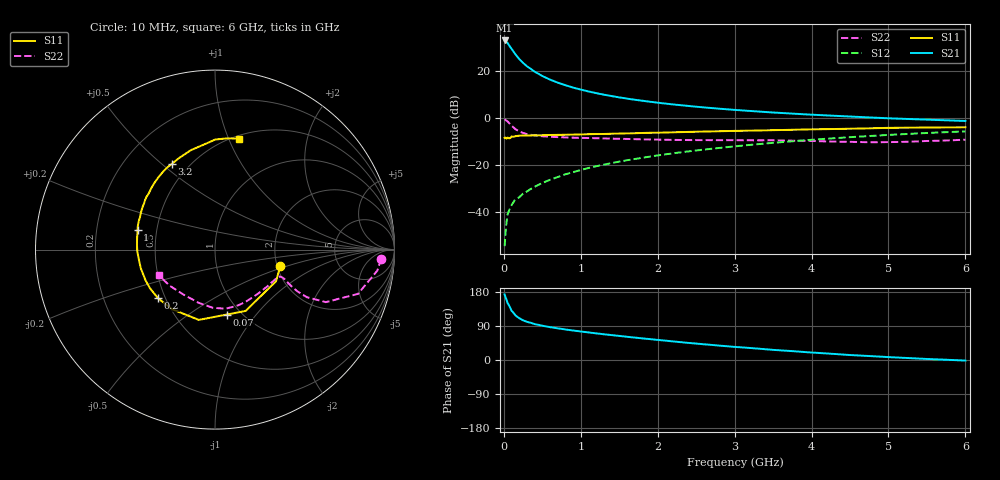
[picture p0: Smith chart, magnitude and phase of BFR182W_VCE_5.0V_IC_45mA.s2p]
! Infineon Technologies  Discrete & RF Semiconductors
! BFR182W
! VCE =  5.0 V,  IC =  45 mA
! Common Emitter S-Parameters:  Jan 2017
# GHz  S  MA  R  50
!  f  S11  S21  S12  S22
! GHz  MAG  ANG  MAG  ANG  MAG  ANG  MAG  ANG
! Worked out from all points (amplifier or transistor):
!   77 points, 10 MHz to 6 GHz, reference 50 ohm
!   highest |S21| = 32.8 dB at 10 MHz (marker M1)
!   |S21| within 3 dB of that: start of sweep to 87.72 MHz
!   unconditionally stable (mu >= 1): 394.4 MHz to 2.296 GHz
!   at 130 MHz: K = 0.61, MSG = 31.7 dB, |S12| = -35.5 dB
!   at 2.2 GHz: K = 1.01, MAG = 9.8 dB, |S12| = -15.1 dB
!   at 6 GHz: K = 0.89, MSG = 2.2 dB, |S12| = -5.7 dB
!   S11 on the Smith chart (normalised r, x): 10 MHz: 2.08, -0.44; 70 MHz: 0.86, -0.72; 200 MHz: 0.46, -0.30; 1 GHz: 0.39, +0.11; 3.2 GHz: 0.40, +0.54; 6 GHz: 0.53, +1.09
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0.01  0.3756 -14.0  43.73 173.1  0.0019 79.0  0.9273 -3.2
0.02  0.3829 -27.5  43.43 167.0  0.0032 85.3  0.9119 -7.4
0.05  0.382 -63.5  38.35 149.8  0.0091 72.9  0.8342 -17.2
0.07  0.3677 -79.6  34.17 143.1  0.011 69.8  0.7718 -20.1
0.1  0.4019 -103.0  29.07 129.9  0.014 66.8  0.6827 -25.4
0.15  0.409 -125.7  22.23 117.9  0.0187 63.4  0.5766 -27.4
0.2  0.4174 -139.5  17.69 110.3  0.0207 65.1  0.5156 -26.9
0.25  0.4215 -149.2  14.63 104.7  0.0248 64.7  0.4777 -25.8
0.3  0.4231 -155.9  12.39 100.8  0.0274 66.1  0.452 -24.7
0.4  0.4264 -166.0  9.53 94.8  0.0346 69.2  0.4231 -23.1
0.5  0.4279 -173.0  7.702 90.4  0.0415 71.1  0.4072 -22.5
0.6  0.433 -178.6  6.48 86.7  0.0485 73.1  0.397 -22.4
0.7  0.4353 176.8  5.582 83.6  0.0556 74.9  0.3901 -22.7
1  0.4454 165.7  3.974 75.2  0.0783 75.3  0.3763 -25.4
1.1  0.4498 162.8  3.627 72.8  0.0862 75.5  0.3729 -26.7
1.5  0.4637 151.9  2.714 63.6  0.1178 74.5  0.3593 -33.0
2.1  0.4882 137.9  2.008 51.1  0.1681 71.3  0.3428 -45.7
3.1  0.5315 118.7  1.437 33.2  0.2574 63.5  0.3347 -70.4
3.2  0.5348 116.8  1.4 31.7  0.2667 62.6  0.3339 -72.8
4.1  0.5733 101.9  1.146 18.5  0.3515 53.7  0.3197 -95.2
5.1  0.6149 88.5  0.965 6.7  0.4426 42.5  0.3071 -128.2
6  0.632 78.0  0.858 -1.5  0.5168 32.1  0.3442 -155.4
